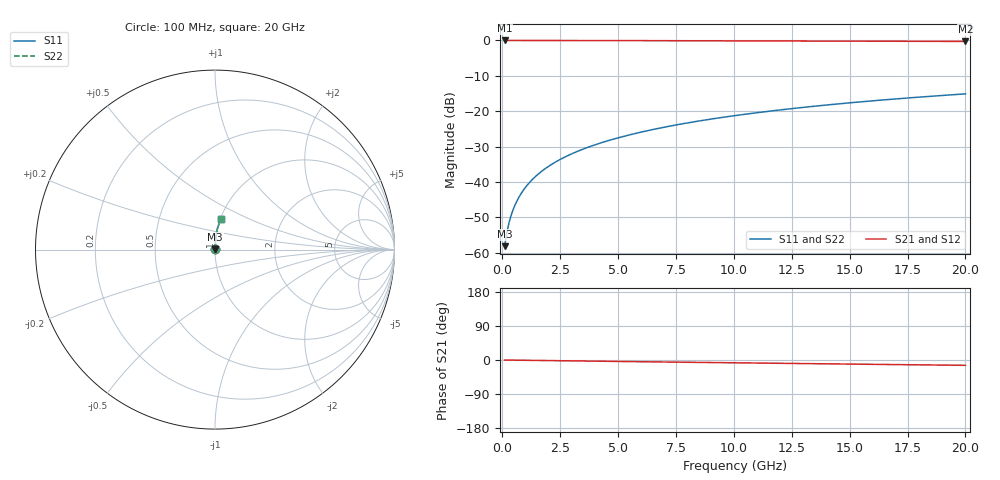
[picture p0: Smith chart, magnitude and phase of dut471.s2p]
! Touchstone file exported from HFSS 2024.1.0
!  File:  C:/UserFiles/LocalFiles/RDL_TSV_Batchsim/temp_RDL_top_471_1779677926.aedt
!  Generated:  11:00:56 AM May 25, 2026
!  Design:  RDL_top
!  Project:  temp_RDL_top_471_1779677926
!  Setup:  Setup1
!  Solution:  Sweep
! Variables:
!  dtsv = 10.80580581um
!  hbump = 3um
!  htsv = 97.86um
!  ldown = 100um
!  lrdl = 148.43um
!  p = 40
!  p1 = 52.94um
!  rhole = 1um
!  t = 450um
!  tdown = 3.915915916um
!  trdl = 4.16um
!  wdown = 15.38538539um
!  wrdl = 17.53um
# GHz S MA R 50.000000
! Terminal data exported
! Port[1] = Box2_T1
! Port[2] = Box2_T2
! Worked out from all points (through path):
!   200 points, 100 MHz to 20 GHz, reference 50 ohm
!   highest |S21| = -0.01 dB at 100 MHz (marker M1); lowest = -0.3 dB at 20 GHz (marker M2)
!   group delay of S21, straight-line fit = 1.94 ps
!   lowest |S11| = -58.1 dB at 100 MHz (marker M3), VSWR 1.00, Z = 50.1 + j0.0875 ohm
!   |S11| at or under -10 dB: start of sweep to end of sweep
!   |S22| runs from -58.1 to -15.1 dB; largest |S21 - S12| = 2.7e-15
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0.1  0.001243 44.6  0.9991 -0.1  0.9991 -0.1  0.001243 44.6
! Gamma 0 0 0 0
! Port Impedance 50 0 50 0
0.2  0.001957 62.2  0.9991 -0.2  0.9991 -0.2  0.001957 62.2
0.3  0.002739 69.8  0.999 -0.2  0.999 -0.2  0.002739 69.8
0.4  0.003537 74.1  0.999 -0.3  0.999 -0.3  0.003537 74.1
0.5  0.004341 76.8  0.999 -0.4  0.999 -0.4  0.004341 76.8
0.6  0.00515 78.7  0.9989 -0.5  0.9989 -0.5  0.00515 78.7
0.8  0.006777 81.3  0.9989 -0.6  0.9989 -0.6  0.006777 81.3
1.1  0.009238 83.4  0.9987 -0.9  0.9987 -0.9  0.009238 83.4
1.5  0.01254 85.0  0.9985 -1.2  0.9985 -1.2  0.01254 85.0
1.8  0.01503 85.7  0.9983 -1.4  0.9983 -1.4  0.01503 85.7
2.1  0.01753 86.2  0.9981 -1.6  0.9981 -1.6  0.01753 86.2
2.7  0.02255 86.8  0.9976 -2.1  0.9976 -2.1  0.02255 86.8
3.5  0.02929 87.2  0.9967 -2.7  0.9967 -2.7  0.02929 87.2
4.2  0.03525 87.4  0.9959 -3.2  0.9959 -3.2  0.03525 87.4
5  0.04211 87.4  0.9948 -3.8  0.9948 -3.8  0.04211 87.4
5.9  0.04992 87.2  0.9934 -4.5  0.9934 -4.5  0.04992 87.2
6.8  0.05781 87.0  0.992 -5.1  0.992 -5.1  0.05781 87.0
8.3  0.07111 86.4  0.9895 -6.2  0.9895 -6.2  0.07111 86.4
10.1  0.08726 85.5  0.9863 -7.5  0.9863 -7.5  0.08726 85.5
13.4  0.1171 83.4  0.9805 -9.7  0.9805 -9.7  0.1171 83.4
16.7  0.1467 81.1  0.9744 -11.9  0.9744 -11.9  0.1467 81.1
20  0.1759 78.7  0.9679 -14.1  0.9679 -14.1  0.1759 78.7
